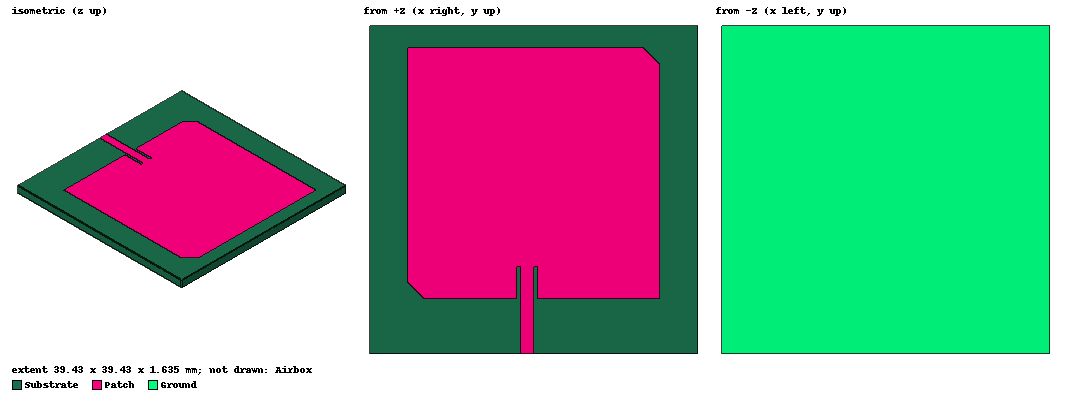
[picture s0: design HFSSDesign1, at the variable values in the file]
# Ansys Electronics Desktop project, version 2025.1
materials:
  vacuum: permittivity=1
  FR4_epoxy: permittivity=4.4 dielectric_loss_tangent=0.02
  pec: conductivity=1e+30
  copper: permeability=0.999991 conductivity=58000000

design HFSSDesign1 (HFSS, HFSS Terminal Network, model units mm)
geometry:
  Substrate [FR4_epoxy] = box(corner=((-40/2*0.985652174) mm, (-40/2*0.985652174) mm, 0mm), size=((40*0.985652174) mm, (40*0.985652174) mm, 1.6mm))
  Ground = rectangle(corner=((-40/2*0.985652174) mm, (-40/2*0.985652174) mm, 0mm), x_size=(40*0.985652174) mm, y_size=(40*0.985652174) mm)
  Patch [copper] = rectangle(corner=((-30.7/2*0.985652174) mm, (-26.7/2*0.985652174) mm, 1.6mm), x_size=(30.7*0.985652174) mm, y_size=(30.7*0.985652174) mm)
  Airbox [vacuum] = box(corner=((-50/2) mm, (-50/2) mm, 0mm), size=(50mm, 50mm, 5mm))
  Polyline4 = polyline(z=1.6mm, xy: ((-30.7/2*0.985652174) mm, (-11.35*0.985652174) mm) ((-13.35*0.985652174) mm, (-26.7/2*0.985652174) mm) ((-30.7/2*0.985652174) mm, (-26.7/2*0.985652174) mm) ((-30.7/2*0.985652174) mm, (-11.35*0.985652174) mm), closed, covered)
  Polyline5 = polyline(z=1.6mm, xy: ((30.7/2*0.985652174) mm, (15.35*0.985652174) mm) ((13.35*0.985652174) mm, (34.7/2*0.985652174) mm) ((30.7/2*0.985652174) mm, (34.7/2*0.985652174) mm) ((30.7/2*0.985652174) mm, (15.35*0.985652174) mm), closed, covered)
  Patch.subtract(Polyline4, Polyline5)
  Microstrip = rectangle(corner=((-1.625*0.985652174) mm, (-26.7/2*0.985652174) mm, 1.6mm), x_size=(1.625*0.985652174) mm, y_size=(-6.65*0.985652174) mm)
  Patch.unite(Microstrip)
  Rectangle1 = rectangle(corner=((-1.625*0.985652174) mm, (-13.35*0.985652174) mm, 1.6mm), x_size=(-0.5*0.985652174) mm, y_size=(4*0.985652174) mm)
  Rectangle2 = rectangle(corner=(0mm, (-13.35*0.985652174) mm, 1.6mm), x_size=(0.5*0.985652174) mm, y_size=(4*0.985652174) mm)
  Patch.subtract(Rectangle1, Rectangle2)
  Source = rectangle(corner=((-1.625*0.985652174) mm, (-20*0.985652174) mm, 1.6mm), z_size=-1.6mm, x_size=(1.625*0.985652174) mm)
  Patch.thicken(0.035mm)
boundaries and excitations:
  PerfE1: Perfect E Objects=Ground
  PerfE2: Perfect E Objects=Patch
  Rad1: Radiation Faces=Airbox.face(+y, +x, +z, -y, -x)
  1: Lumped Port Objects=Source LumpedPortType=Modal Modes{Mode1{IntLine{(-0.80084239, -19.71304348, 0) -> (-0.80084239, -19.71304348, 1.6)} CharImp=Zpi RenormImp=50ohm}} Impedance=50ohm
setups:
  2_3GHz: HfssDriven Frequency=2.3GHz MaxDeltaS=0.02 MaximumPasses=20 MinimumPasses=1 MinimumConvergedPasses=1 PercentRefinement=30 BasisOrder=1 PortAccuracy=2 DrivenSolverType="Direct Solver"
    sweep Sweep: 2.2GHz to 2.4GHz, 201 points; Type=Fast SaveFields
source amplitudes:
  1:1: 1V 0deg
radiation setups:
  Infinite Sphere1: Infinite Sphere Theta=0deg..180deg step 2deg Phi=-180deg..180deg step 2deg
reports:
  Gain Plot1: GainTotal vs Phi, Theta on 2_3GHz : LastAdaptive, Infinite Sphere1 [Freq=2.3GHz]
  S Parameter Plot1: dB(S(1,1)) vs Freq on 2_3GHz : Sweep
